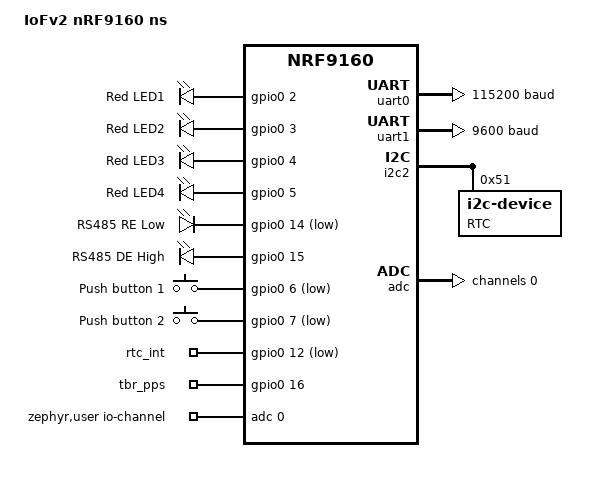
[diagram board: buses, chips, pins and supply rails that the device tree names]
/dts-v1/;
#include <nordic/nrf9160ns_sica.dtsi>
#include "iofv2-pinctrl.dtsi"
/ {
	model = "IoFv2 nRF9160 ns";
	compatible = "ntnu-cybernetics,iofv2-nrf9160-ns";

	chosen {
		zephyr,flash = &flash0;
		zephyr,console = &uart0;
		zephyr,shell-uart = &uart0;
		zephyr,uart-mcumgr = &uart0;
	};

	leds {
		compatible = "gpio-leds";
		led1: led_1 {
			gpios = <&gpio0 2 0>;
			label = "Red LED1";
		};

		led2: led_2 {
			gpios = <&gpio0 3 0>;
			label = "Red LED2";
		};

		led3: led_3 {
			gpios = <&gpio0 4 0>;
			label = "Red LED3";
		};

		led4: led_4 {
			gpios = <&gpio0 5 0>;
			label = "Red LED4";
		};
	};

	rs485_ctrl: rs485_ctrl { 
		compatible = "gpio-leds"; 
		re_low_pin: re_low_pin { 
			gpios = <&gpio0 14 (GPIO_ACTIVE_LOW | GPIO_PULL_UP)>; 
			label = "RS485 RE Low"; 
		}; 
		de_high_pin: de_high_pin { 
			gpios = <&gpio0 15 (GPIO_ACTIVE_HIGH | GPIO_PULL_DOWN)>; 
			label = "RS485 DE High"; 
		}; 
	};

	buttons {
		compatible = "gpio-keys";
		button1: button_1 {
			gpios = <&gpio0 6 (GPIO_ACTIVE_LOW | GPIO_PULL_UP)>;
			label = "Push button 1";
		};

		button2: button_2 {
			gpios = <&gpio0 7 (GPIO_ACTIVE_LOW | GPIO_PULL_UP)>;
			label = "Push button 2";
		};
	};

	rtc {
		compatible = "gpio-keys";
		rtc_int: rtc_int_pin {
			gpios = <&gpio0 12 GPIO_ACTIVE_LOW>;
			label = "rtc_int";
    	};

		tbr_pps: tbr_pps_pin {
			gpios = <&gpio0 16 GPIO_ACTIVE_HIGH>;	// TODO: double check if active high or low!
			label = "tbr_pps";
		};

	};



	aliases {
		led0 = &led1;
		led1 = &led2;
		led2 = &led3;
		led3 = &led4;
		sw0  = &button1;
		sw1  = &button2;
		dehighpin = &de_high_pin;
		relowpin = &re_low_pin;
		bootloader-led0 = &led1;
		mcuboot-button0 = &button1;
		mcuboot-led0 = &led1;
		watchdog0 = &wdt0;
		nintpinlow = &rtc_int;
        tbrppspin  = &tbr_pps;
	};

	zephyr,user {
		io-channels = <&adc 0>;
	};
};

// TODO Look at partition and MCUboot. Is static partition needed? Is it possible to update code thorugh USB instead of SEGGER? 

&gpio0 {
	status = "okay";
};

&gpiote {
	status = "okay";
};


&uart0 {
	status = "okay";
	pinctrl-0 = <&uart0_default>;
	pinctrl-1 = <&uart0_sleep>;
	pinctrl-names = "default", "sleep";
	current-speed = <115200>;
	label = "USB Uart debug";
};

&uart1 {
	status = "okay";
	pinctrl-0 = <&uart1_default>;
	pinctrl-1 = <&uart1_sleep>;
	pinctrl-names = "default", "sleep";
	current-speed = <9600>;
	parity = "none";
	/* Flow control is off by default; keep 8N1 as per TBR Live docs. */
};

&i2c2 {
	status = "okay";
	pinctrl-0 = <&i2c2_default>;
	pinctrl-1 = <&i2c2_sleep>;
	pinctrl-names = "default", "sleep";
	label = "I2C RTC RV3032";

	rv3032: rv3032@51{
        compatible = "i2c-device";
        reg = < 0x51 >;
        label = "RTC";
    };
};

&adc {
	#address-cells = <1>;
	#size-cells = <0>;
	status = "okay";
	channel@0 {
		reg = <0>;
		zephyr,gain = "ADC_GAIN_1_6";
		zephyr,reference = "ADC_REF_INTERNAL";
		zephyr,acquisition-time = <ADC_ACQ_TIME_DEFAULT>;
		zephyr,input-positive = <NRF_SAADC_AIN0>; /* P0.13 */
		zephyr,resolution = <12>;
	};
};
